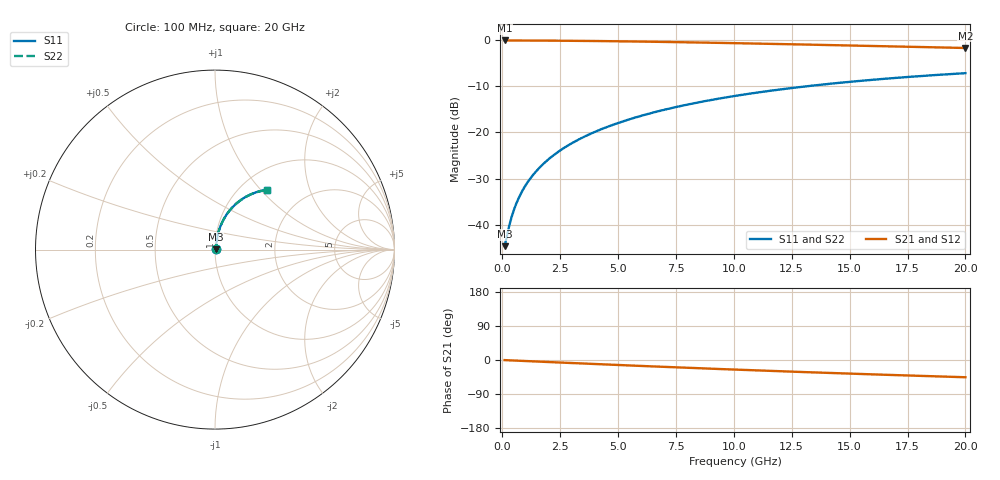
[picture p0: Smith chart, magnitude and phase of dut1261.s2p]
! Touchstone file exported from HFSS 2024.1.0
!  File:  C:/UserFiles/LocalFiles/RDL_TSV_Batchsim/temp_RDL_bottom_1261_1780245823.aedt
!  Generated:  12:46:17 AM Jun  1, 2026
!  Design:  RDL_bottom
!  Project:  temp_RDL_bottom_1261_1780245823
!  Setup:  Setup1
!  Solution:  Sweep
! Variables:
!  dtsv = 10.80580581um
!  hbump = 3um
!  htsv = 67.56um
!  ldown = 656.83um
!  lrdl = 100um
!  p = 40
!  p1 = 40.32um
!  rhole = 1um
!  t = 450um
!  tdown = 3.05um
!  trdl = 3.915915916um
!  wdown = 15.07um
!  wrdl = 20um
# GHz S MA R 50.000000
! Terminal data exported
! Port[1] = RDL1_T1
! Port[2] = RDL1_T2
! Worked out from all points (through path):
!   200 points, 100 MHz to 20 GHz, reference 50 ohm
!   highest |S21| = -0.05 dB at 100 MHz (marker M1); lowest = -1.7 dB at 20 GHz (marker M2)
!   group delay of S21, straight-line fit = 6.32 ps
!   lowest |S11| = -44.7 dB at 100 MHz (marker M3), VSWR 1.01, Z = 50.5 + j0.275 ohm
!   |S11| at or under -10 dB: start of sweep to 13.12 GHz
!   |S22| runs from -44.7 to -7.1 dB; largest |S21 - S12| = 2.6e-15
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0.1  0.005844 27.8  0.9948 -0.3  0.9948 -0.3  0.005844 27.8
! Gamma 0 0 0 0
! Port Impedance 50 0 50 0
0.3  0.00973 55.8  0.9945 -0.8  0.9945 -0.8  0.00973 55.8
0.4  0.01205 61.9  0.9943 -1.1  0.9943 -1.1  0.01205 61.9
0.5  0.01443 65.9  0.9941 -1.4  0.9941 -1.4  0.01443 65.9
0.6  0.01683 68.8  0.9939 -1.7  0.9939 -1.7  0.01683 68.8
0.7  0.01924 70.9  0.9937 -1.9  0.9937 -1.9  0.01924 70.9
0.9  0.0241 73.8  0.9933 -2.5  0.9933 -2.5  0.0241 73.8
1.2  0.03144 76.4  0.9926 -3.3  0.9926 -3.3  0.03144 76.4
1.4  0.03638 77.5  0.9922 -3.8  0.9922 -3.8  0.03637 77.5
1.7  0.04381 78.5  0.9914 -4.6  0.9914 -4.6  0.04381 78.5
2.2  0.05628 79.3  0.9897 -5.9  0.9897 -5.9  0.05628 79.3
2.8  0.07132 79.5  0.9874 -7.5  0.9874 -7.5  0.07131 79.5
3.5  0.08891 79.1  0.984 -9.3  0.984 -9.3  0.0889 79.1
4.2  0.1065 78.4  0.98 -11.1  0.98 -11.1  0.1065 78.4
5  0.1266 77.3  0.9747 -13.2  0.9747 -13.2  0.1266 77.3
5.9  0.1491 75.9  0.968 -15.4  0.968 -15.4  0.149 75.9
6.8  0.1714 74.3  0.9606 -17.7  0.9606 -17.7  0.1713 74.3
8.4  0.2103 71.3  0.9462 -21.5  0.9462 -21.5  0.2102 71.3
10.1  0.2502 68.0  0.9295 -25.4  0.9295 -25.4  0.2501 68.0
13.4  0.3221 61.5  0.8948 -32.6  0.8948 -32.6  0.3219 61.4
16.7  0.3854 55.1  0.8592 -39.3  0.8592 -39.3  0.3852 55.1
20  0.4396 49.2  0.8243 -45.5  0.8243 -45.5  0.4394 49.1
